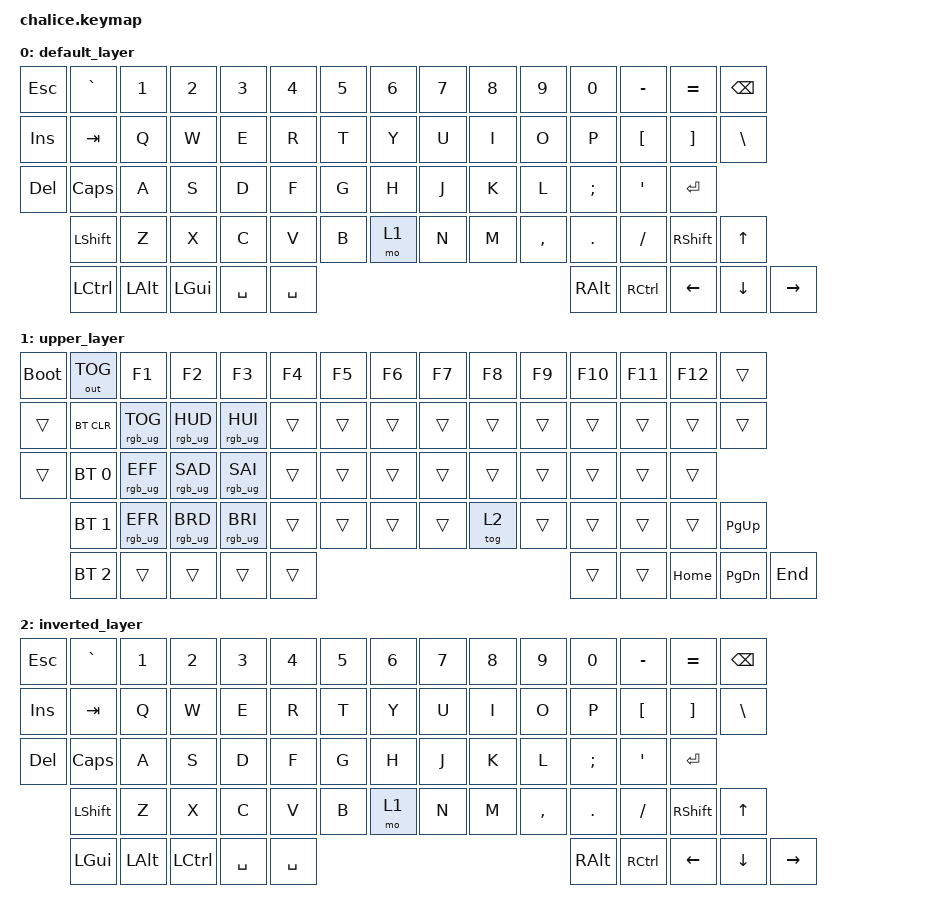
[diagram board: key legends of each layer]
/*
 * Copyright (c) 2021 The ZMK Contributors
 *
 * SPDX-License-Identifier: MIT
 */

#include <behaviors.dtsi>
#include <dt-bindings/zmk/keys.h>
#include <dt-bindings/zmk/bt.h>
#include <dt-bindings/zmk/rgb.h>
#include <dt-bindings/zmk/outputs.h>

/ {
        keymap {
                compatible = "zmk,keymap";

                default_layer {

                        bindings = <
   &kp ESC         &kp GRAVE    &kp N1       &kp N2       &kp N3       &kp N4       &kp N5       &kp N6       &kp N7       &kp N8       &kp N9       &kp N0       &kp MINUS    &kp EQUAL    &kp BSPC
   &kp INSERT      &kp TAB      &kp Q        &kp W        &kp E        &kp R        &kp T        &kp Y        &kp U        &kp I        &kp O        &kp P        &kp LBKT     &kp RBKT     &kp BSLH
   &kp DELETE      &kp CAPS     &kp A        &kp S        &kp D        &kp F        &kp G        &kp H        &kp J        &kp K        &kp L        &kp SEMI     &kp SQT      &kp ENTER                    
                   &kp LSHFT    &kp Z        &kp X        &kp C        &kp V        &kp B        &mo 1        &kp N        &kp M        &kp COMMA    &kp DOT      &kp SLASH    &kp RSHFT    &kp UP
                   &kp LCTRL                 &kp LALT                  &kp LGUI     &kp SPACE                 &kp SPACE                 &kp RALT                  &kp RCTRL    &kp LEFT     &kp DOWN     &kp RIGHT 
                                >;
                        };

                upper_layer {

                        bindings = <
   &bootloader     &out OUT_TOG &kp F1           &kp F2          &kp F3          &kp F4       &kp F5       &kp F6       &kp F7       &kp F8       &kp F9       &kp F10      &kp F11      &kp F12      &trans
   &trans          &bt BT_CLR   &rgb_ug RGB_TOG  &rgb_ug RGB_HUD &rgb_ug RGB_HUI &trans       &trans       &trans       &trans       &trans       &trans       &trans       &trans       &trans       &trans
   &trans          &bt BT_SEL 0 &rgb_ug RGB_EFF  &rgb_ug RGB_SAD &rgb_ug RGB_SAI &trans       &trans       &trans       &trans       &trans       &trans       &trans       &trans       &trans 
                   &bt BT_SEL 1 &rgb_ug RGB_EFR  &rgb_ug RGB_BRD &rgb_ug RGB_BRI &trans       &trans       &trans       &trans       &tog 2       &trans       &trans       &trans       &trans       &kp PG_UP
                   &bt BT_SEL 2                  &trans                          &trans       &trans                    &trans                    &trans                    &trans       &kp HOME     &kp PG_DN    &kp END 
                                >;
                        };

                inverted_layer {

                        bindings = <
   &kp ESC         &kp GRAVE    &kp N1       &kp N2       &kp N3       &kp N4       &kp N5       &kp N6       &kp N7       &kp N8       &kp N9       &kp N0       &kp MINUS    &kp EQUAL    &kp BSPC
   &kp INSERT      &kp TAB      &kp Q        &kp W        &kp E        &kp R        &kp T        &kp Y        &kp U        &kp I        &kp O        &kp P        &kp LBKT     &kp RBKT     &kp BSLH
   &kp DELETE      &kp CAPS     &kp A        &kp S        &kp D        &kp F        &kp G        &kp H        &kp J        &kp K        &kp L        &kp SEMI     &kp SQT      &kp ENTER                    
                   &kp LSHFT    &kp Z        &kp X        &kp C        &kp V        &kp B        &mo 1        &kp N        &kp M        &kp COMMA    &kp DOT      &kp SLASH    &kp RSHFT    &kp UP
                   &kp LGUI                  &kp LALT                  &kp LCTRL    &kp SPACE                 &kp SPACE                 &kp RALT                  &kp RCTRL    &kp LEFT     &kp DOWN     &kp RIGHT 
                                >;
                        };
        };
};
